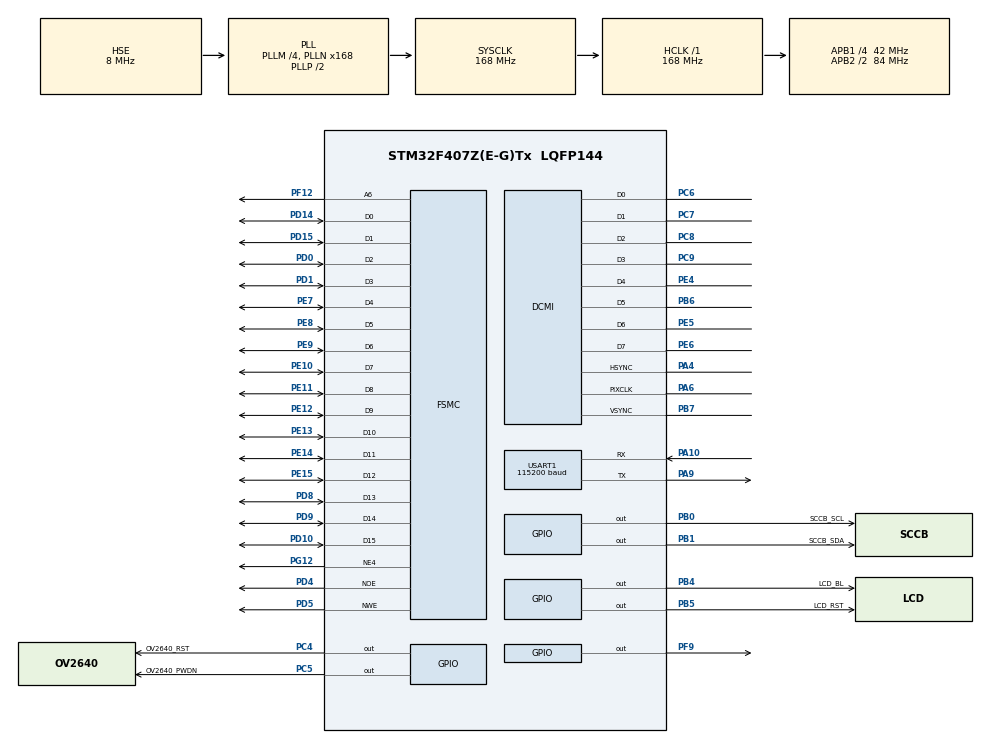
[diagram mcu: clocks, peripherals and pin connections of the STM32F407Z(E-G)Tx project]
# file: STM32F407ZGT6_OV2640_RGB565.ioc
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DCMI.CaptureRate=DCMI_CR_ALL_FRAME
DCMI.HSPolarity=DCMI_HSPOLARITY_LOW
DCMI.JPEGMode=DCMI_JPEG_ENABLE
DCMI.PCKPolarity=DCMI_PCKPOLARITY_RISING
DCMI.VSPolarity=DCMI_VSPOLARITY_LOW
Dma.DCMI.0.Direction=DMA_PERIPH_TO_MEMORY
Dma.DCMI.0.FIFOMode=DMA_FIFOMODE_ENABLE
Dma.DCMI.0.FIFOThreshold=DMA_FIFO_THRESHOLD_FULL
Dma.DCMI.0.Instance=DMA2_Stream1
Dma.DCMI.0.MemBurst=DMA_MBURST_SINGLE
Dma.DCMI.0.MemDataAlignment=DMA_MDATAALIGN_HALFWORD
Dma.DCMI.0.MemInc=DMA_MINC_DISABLE
Dma.DCMI.0.Mode=DMA_CIRCULAR
Dma.DCMI.0.PeriphBurst=DMA_PBURST_SINGLE
Dma.DCMI.0.PeriphDataAlignment=DMA_PDATAALIGN_WORD
Dma.DCMI.0.PeriphInc=DMA_PINC_DISABLE
Dma.DCMI.0.Priority=DMA_PRIORITY_LOW
Dma.Request0=DCMI
FSMC.AccessMode1=FSMC_ACCESS_MODE_A
FSMC.AddressSetupTime1=15
FSMC.BusTurnAroundDuration1=0
FSMC.DataSetupTime1=60
FSMC.ExtendedAccessMode1=FSMC_ACCESS_MODE_A
FSMC.ExtendedAddressSetupTime1=9
FSMC.ExtendedBusTurnAroundDuration1=0
FSMC.ExtendedDataSetupTime1=8
FSMC.ExtendedMode1=FSMC_EXTENDED_MODE_ENABLE
FSMC.NSBank1=FSMC_NORSRAM_BANK4
FSMC.WriteOperation1=FSMC_WRITE_OPERATION_ENABLE
Mcu.Family=STM32F4
Mcu.Name=STM32F407Z(E-G)Tx
Mcu.Package=LQFP144
NVIC.DCMI_IRQn=true\:0\:0\:true\:false\:true\:true\:true\:true
NVIC.DMA2_Stream1_IRQn=true\:0\:0\:true\:false\:true\:false\:true\:true
NVIC.PriorityGroup=NVIC_PRIORITYGROUP_4
NVIC.TIM7_IRQn=true\:0\:0\:false\:false\:true\:true\:true\:true
NVIC.USART1_IRQn=true\:0\:0\:false\:false\:true\:true\:true\:true
PA10.Mode=Asynchronous
PA10.Signal=USART1_RX
PA13.Mode=Serial_Wire
PA13.Signal=SYS_JTMS-SWDIO
PA14.Mode=Serial_Wire
PA14.Signal=SYS_JTCK-SWCLK
PA4.Mode=Slave_8_bits_External_Synchro
PA4.Signal=DCMI_HSYNC
PA6.Mode=Slave_8_bits_External_Synchro
PA6.Signal=DCMI_PIXCLK
PA9.Mode=Asynchronous
PA9.Signal=USART1_TX
PB0.GPIO_Label=SCCB_SCL
PB0.PinState=GPIO_PIN_RESET
PB0.Signal=GPIO_Output
PB1.GPIO_Label=SCCB_SDA
PB1.GPIO_ModeDefaultOutputPP=GPIO_MODE_OUTPUT_OD
PB1.GPIO_PuPd=GPIO_NOPULL
PB1.PinState=GPIO_PIN_RESET
PB1.Signal=GPIO_Output
PB4.GPIO_Label=LCD_BL
PB4.PinState=GPIO_PIN_SET
PB4.Signal=GPIO_Output
PB5.GPIO_Label=LCD_RST
PB5.Signal=GPIO_Output
PB6.Mode=Slave_8_bits_External_Synchro
PB6.Signal=DCMI_D5
PB7.Mode=Slave_8_bits_External_Synchro
PB7.Signal=DCMI_VSYNC
PC4.GPIO_Label=OV2640_RST
PC4.PinState=GPIO_PIN_SET
PC4.Signal=GPIO_Output
PC5.GPIO_Label=OV2640_PWDN
PC5.Signal=GPIO_Output
PC6.Mode=Slave_8_bits_External_Synchro
PC6.Signal=DCMI_D0
PC7.Mode=Slave_8_bits_External_Synchro
PC7.Signal=DCMI_D1
PC8.Mode=Slave_8_bits_External_Synchro
PC8.Signal=DCMI_D2
PC9.Mode=Slave_8_bits_External_Synchro
PC9.Signal=DCMI_D3
PD0.Signal=FSMC_D2_DA2
PD1.Signal=FSMC_D3_DA3
PD10.Signal=FSMC_D15_DA15
PD14.Signal=FSMC_D0_DA0
PD15.Signal=FSMC_D1_DA1
PD4.Signal=FSMC_NOE
PD5.Signal=FSMC_NWE
PD8.Signal=FSMC_D13_DA13
PD9.Signal=FSMC_D14_DA14
PE10.Signal=FSMC_D7_DA7
PE11.Signal=FSMC_D8_DA8
PE12.Signal=FSMC_D9_DA9
PE13.Signal=FSMC_D10_DA10
PE14.Signal=FSMC_D11_DA11
PE15.Signal=FSMC_D12_DA12
PE4.Mode=Slave_8_bits_External_Synchro
PE4.Signal=DCMI_D4
PE5.Mode=Slave_8_bits_External_Synchro
PE5.Signal=DCMI_D6
PE6.Mode=Slave_8_bits_External_Synchro
PE6.Signal=DCMI_D7
PE7.Signal=FSMC_D4_DA4
PE8.Signal=FSMC_D5_DA5
PE9.Signal=FSMC_D6_DA6
PF12.Signal=FSMC_A6
PF9.Signal=GPIO_Output
PG12.Mode=NorPsramChipSelect4_1
PG12.Signal=FSMC_NE4
PH0-OSC_IN.Mode=HSE-External-Oscillator
PH0-OSC_IN.Signal=RCC_OSC_IN
PH1-OSC_OUT.Mode=HSE-External-Oscillator
PH1-OSC_OUT.Signal=RCC_OSC_OUT
ProjectManager.HeapSize=0x200
ProjectManager.StackSize=0x400
ProjectManager.TargetToolchain=MDK-ARM V5.32
RCC.48MHZClocksFreq_Value=84000000
RCC.AHBFreq_Value=168000000
RCC.APB1CLKDivider=RCC_HCLK_DIV4
RCC.APB1Freq_Value=42000000
RCC.APB1TimFreq_Value=84000000
RCC.APB2CLKDivider=RCC_HCLK_DIV2
RCC.APB2Freq_Value=84000000
RCC.APB2TimFreq_Value=168000000
RCC.CortexFreq_Value=168000000
RCC.FLatency=FLASH_LATENCY_5
RCC.HCLKFreq_Value=168000000
RCC.HSE_VALUE=8000000
RCC.HSI_VALUE=16000000
RCC.LSE_VALUE=32768
RCC.PLLM=4
RCC.PLLN=168
RCC.PLLSourceVirtual=RCC_PLLSOURCE_HSE
RCC.SYSCLKFreq_VALUE=168000000
RCC.SYSCLKSource=RCC_SYSCLKSOURCE_PLLCLK
RCC.VCOOutputFreq_Value=336000000
SH.FSMC_A6.0=FSMC_A6,A6_1
SH.FSMC_D0_DA0.0=FSMC_D0,16b-d1
SH.FSMC_D10_DA10.0=FSMC_D10,16b-d1
SH.FSMC_D11_DA11.0=FSMC_D11,16b-d1
SH.FSMC_D12_DA12.0=FSMC_D12,16b-d1
SH.FSMC_D13_DA13.0=FSMC_D13,16b-d1
SH.FSMC_D14_DA14.0=FSMC_D14,16b-d1
SH.FSMC_D15_DA15.0=FSMC_D15,16b-d1
SH.FSMC_D1_DA1.0=FSMC_D1,16b-d1
SH.FSMC_D2_DA2.0=FSMC_D2,16b-d1
SH.FSMC_D3_DA3.0=FSMC_D3,16b-d1
SH.FSMC_D4_DA4.0=FSMC_D4,16b-d1
SH.FSMC_D5_DA5.0=FSMC_D5,16b-d1
SH.FSMC_D6_DA6.0=FSMC_D6,16b-d1
SH.FSMC_D7_DA7.0=FSMC_D7,16b-d1
SH.FSMC_D8_DA8.0=FSMC_D8,16b-d1
SH.FSMC_D9_DA9.0=FSMC_D9,16b-d1
SH.FSMC_NOE.0=FSMC_NOE,Lcd1
SH.FSMC_NWE.0=FSMC_NWE,Lcd1
TIM6.AutoReloadPreload=TIM_AUTORELOAD_PRELOAD_DISABLE
TIM6.CounterMode=TIM_COUNTERMODE_UP
TIM6.Period=65535
TIM6.Prescaler=83
TIM6.TIM_MasterOutputTrigger=TIM_TRGO_RESET
TIM7.AutoReloadPreload=TIM_AUTORELOAD_PRELOAD_ENABLE
TIM7.CounterMode=TIM_COUNTERMODE_UP
TIM7.Period=9999
TIM7.Prescaler=8399
TIM7.TIM_MasterOutputTrigger=TIM_TRGO_RESET
USART1.BaudRate=115200
USART1.Mode=MODE_TX_RX
USART1.OverSampling=UART_OVERSAMPLING_16
USART1.Parity=PARITY_NONE
USART1.StopBits=STOPBITS_1
USART1.VirtualMode=VM_ASYNC
USART1.WordLength=WORDLENGTH_8B
VP_TIM6_VS_ClockSourceINT.Mode=Enable_Timer
VP_TIM7_VS_ClockSourceINT.Mode=Enable_Timer
board=custom

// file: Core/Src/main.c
/* USER CODE BEGIN Header */
/**
  ******************************************************************************
  * @file           : main.c
  * @brief          : Main program body
  ******************************************************************************
  * @attention
  *
  * Copyright (c) 2023 STMicroelectronics.
  * All rights reserved.
  *
  * This software is licensed under terms that can be found in the LICENSE file
  * in the root directory of this software component.
  * If no LICENSE file comes with this software, it is provided AS-IS.
  *
  ******************************************************************************
  */
/* USER CODE END Header */
#include "main.h"
#include "dcmi.h"
#include "dma.h"
#include "tim.h"
#include "usart.h"
#include "gpio.h"
#include "fsmc.h"

/* USER CODE BEGIN Includes */
#include "stdio.h"
#include "string.h"
#include "lcd.h"
#include "ov2640.h"
/* USER CODE END Includes */

void SystemClock_Config(void);

/* USER CODE BEGIN 0 */
void delay_us(uint16_t us)
{
	uint16_t differ=0xffff-us-5;
	HAL_TIM_Base_Start(&htim6);
	__HAL_TIM_SetCounter(&htim6,differ);
	while(differ < 0xffff-5)
	{
		differ = __HAL_TIM_GetCounter(&htim6);
	}
	HAL_TIM_Base_Stop(&htim6);

}

int fputc(int ch,FILE *f)
{
  HAL_UART_Transmit(&huart1,(uint8_t *)(&ch),sizeof(ch),HAL_MAX_DELAY);
  return ch;
}

uint8_t frame = 0;
void HAL_TIM_PeriodElapsedCallback(TIM_HandleTypeDef *htim)
{
    if (htim == &htim7)
    {
        printf("frame:%dfps\r\n", frame);
        frame = 0;
    }
}

void rgb565_display(void)
{
  ov2640_rgb565_mode();
  ov2640_outsize_set(lcddev.width,lcddev.height);
  LCD_SetCursor(0,0);
  LCD_WriteRAM_Prepare();
  HAL_DCMI_Start_DMA(&hdcmi,DCMI_MODE_CONTINUOUS,(uint32_t)&(LCD->LCD_RAM),1);
}

void HAL_DCMI_FrameEventCallback(DCMI_HandleTypeDef *hdcmi)
{
  frame++;
}
/* USER CODE END 0 */

int main(void)
{

  /* MCU Configuration--------------------------------------------------------*/

  /* Reset of all peripherals, Initializes the Flash interface and the Systick. */
  HAL_Init();

  /* Configure the system clock */
  SystemClock_Config();

  /* Initialize all configured peripherals */
  MX_GPIO_Init();
  MX_DMA_Init();
  MX_DCMI_Init();
  MX_FSMC_Init();
  MX_TIM6_Init();
  MX_USART1_UART_Init();
  MX_TIM7_Init();
  /* USER CODE BEGIN 2 */
  HAL_TIM_Base_Start_IT(&htim7);
  LCD_Init();
  while(ov2640_init())
  {
    LCD_Clear(LIGHTBLUE);
    HAL_Delay(100);
  }
  HAL_Delay(100);
  rgb565_display();
  /* USER CODE END 2 */

  /* Infinite loop */
  while (1)
  {

  }
}

void SystemClock_Config(void)
{
  RCC_OscInitTypeDef RCC_OscInitStruct = {0};
  RCC_ClkInitTypeDef RCC_ClkInitStruct = {0};

  /** Configure the main internal regulator output voltage
  */
  __HAL_RCC_PWR_CLK_ENABLE();
  __HAL_PWR_VOLTAGESCALING_CONFIG(PWR_REGULATOR_VOLTAGE_SCALE1);

  /** Initializes the RCC Oscillators according to the specified parameters
  * in the RCC_OscInitTypeDef structure.
  */
  RCC_OscInitStruct.OscillatorType = RCC_OSCILLATORTYPE_HSE;
  RCC_OscInitStruct.HSEState = RCC_HSE_ON;
  RCC_OscInitStruct.PLL.PLLState = RCC_PLL_ON;
  RCC_OscInitStruct.PLL.PLLSource = RCC_PLLSOURCE_HSE;
  RCC_OscInitStruct.PLL.PLLM = 4;
  RCC_OscInitStruct.PLL.PLLN = 168;
  RCC_OscInitStruct.PLL.PLLP = RCC_PLLP_DIV2;
  RCC_OscInitStruct.PLL.PLLQ = 4;
  if (HAL_RCC_OscConfig(&RCC_OscInitStruct) != HAL_OK)
  {
    Error_Handler();
  }

  /** Initializes the CPU, AHB and APB buses clocks
  */
  RCC_ClkInitStruct.ClockType = RCC_CLOCKTYPE_HCLK|RCC_CLOCKTYPE_SYSCLK
                              |RCC_CLOCKTYPE_PCLK1|RCC_CLOCKTYPE_PCLK2;
  RCC_ClkInitStruct.SYSCLKSource = RCC_SYSCLKSOURCE_PLLCLK;
  RCC_ClkInitStruct.AHBCLKDivider = RCC_SYSCLK_DIV1;
  RCC_ClkInitStruct.APB1CLKDivider = RCC_HCLK_DIV4;
  RCC_ClkInitStruct.APB2CLKDivider = RCC_HCLK_DIV2;

  if (HAL_RCC_ClockConfig(&RCC_ClkInitStruct, FLASH_LATENCY_5) != HAL_OK)
  {
    Error_Handler();
  }
}

void Error_Handler(void)
{
  __disable_irq();
  while (1)
  {
  }
}
